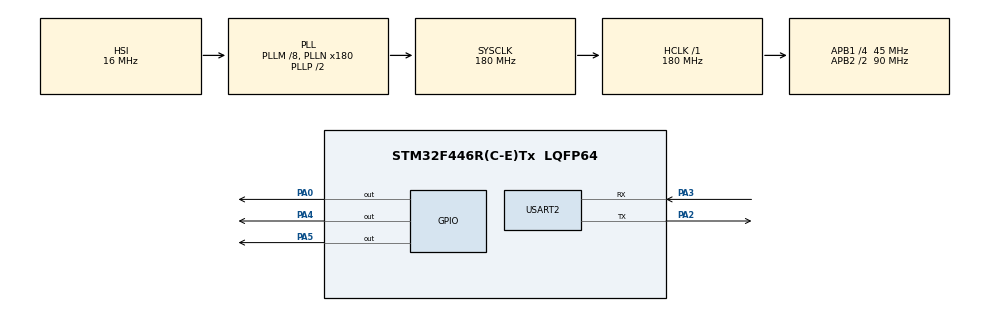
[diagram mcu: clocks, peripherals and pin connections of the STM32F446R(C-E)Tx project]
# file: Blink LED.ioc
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FREERTOS.BinarySemaphores01=myBinarySem01,Dynamic,NULL,Available
FREERTOS.CountingSemaphores01=myCountingSem01,3,Dynamic,NULL,0
FREERTOS.Mutexes01=myMutex01,Dynamic,NULL,Available
FREERTOS.Queues01=myQueue01,256,uint16_t,0,Dynamic,NULL,NULL
FREERTOS.Tasks01=Task01,24,128,LED01,Default,NULL,Dynamic,NULL,NULL;Task02,24,128,LED02,Default,NULL,Dynamic,NULL,NULL;Task03,24,128,LED03,Default,NULL,Dynamic,NULL,NULL
FREERTOS.configUSE_NEWLIB_REENTRANT=1
Mcu.Family=STM32F4
Mcu.Name=STM32F446R(C-E)Tx
Mcu.Package=LQFP64
NVIC.PriorityGroup=NVIC_PRIORITYGROUP_4
NVIC.TIM6_DAC_IRQn=true\:15\:0\:false\:false\:true\:false\:false\:true\:true
NVIC.TimeBase=TIM6_DAC_IRQn
NVIC.TimeBaseIP=TIM6
PA0-WKUP.Signal=GPIO_Output
PA2.Mode=Asynchronous
PA2.Signal=USART2_TX
PA3.Mode=Asynchronous
PA3.Signal=USART2_RX
PA4.Signal=GPIO_Output
PA5.Signal=GPIO_Output
PH0-OSC_IN.Mode=HSE-External-Oscillator
PH0-OSC_IN.Signal=RCC_OSC_IN
PH1-OSC_OUT.Mode=HSE-External-Oscillator
PH1-OSC_OUT.Signal=RCC_OSC_OUT
ProjectManager.HeapSize=0x200
ProjectManager.StackSize=0x400
ProjectManager.TargetToolchain=STM32CubeIDE
RCC.AHBFreq_Value=180000000
RCC.APB1CLKDivider=RCC_HCLK_DIV4
RCC.APB1Freq_Value=45000000
RCC.APB1TimFreq_Value=90000000
RCC.APB2CLKDivider=RCC_HCLK_DIV2
RCC.APB2Freq_Value=90000000
RCC.APB2TimFreq_Value=180000000
RCC.CortexFreq_Value=180000000
RCC.FLatency-AdvancedSettings=FLASH_LATENCY_5
RCC.HCLKFreq_Value=180000000
RCC.HSE_VALUE=8000000
RCC.HSI_VALUE=16000000
RCC.LSE_VALUE=32768
RCC.PLLM=8
RCC.PLLN=180
RCC.SYSCLKFreq_VALUE=180000000
RCC.SYSCLKSource=RCC_SYSCLKSOURCE_PLLCLK
RCC.USBFreq_Value=180000000
RCC.VCOOutputFreq_Value=360000000
USART2.VirtualMode=VM_ASYNC
VP_FREERTOS_VS_CMSIS_V2.Mode=CMSIS_V2
VP_SYS_VS_tim6.Mode=TIM6
board=NUCLEO-F446RE

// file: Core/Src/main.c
/* USER CODE BEGIN Header */
/**
  ******************************************************************************
  * @file           : main.c
  * @brief          : Main program body
  ******************************************************************************
  * @attention
  *
  * Copyright (c) 2025 STMicroelectronics.
  * All rights reserved.
  *
  * This software is licensed under terms that can be found in the LICENSE file
  * in the root directory of this software component.
  * If no LICENSE file comes with this software, it is provided AS-IS.
  *
  ******************************************************************************
  */
/* USER CODE END Header */
#include "main.h"
#include "cmsis_os.h"

/* USER CODE BEGIN Includes */
#include<stdio.h>
#include<string.h>
/* USER CODE END Includes */

UART_HandleTypeDef huart2;

/* Definitions for Task01 */
osThreadId_t Task01Handle;
const osThreadAttr_t Task01_attributes = {
  .name = "Task01",
  .stack_size = 128 * 4,
  .priority = (osPriority_t) osPriorityNormal,
};
/* Definitions for Task02 */
osThreadId_t Task02Handle;
const osThreadAttr_t Task02_attributes = {
  .name = "Task02",
  .stack_size = 128 * 4,
  .priority = (osPriority_t) osPriorityNormal,
};
/* Definitions for Task03 */
osThreadId_t Task03Handle;
const osThreadAttr_t Task03_attributes = {
  .name = "Task03",
  .stack_size = 128 * 4,
  .priority = (osPriority_t) osPriorityNormal,
};
/* Definitions for myQueue01 */
osMessageQueueId_t myQueue01Handle;
const osMessageQueueAttr_t myQueue01_attributes = {
  .name = "myQueue01"
};
/* Definitions for myMutex01 */
osMutexId_t myMutex01Handle;
const osMutexAttr_t myMutex01_attributes = {
  .name = "myMutex01"
};
/* Definitions for myBinarySem01 */
osSemaphoreId_t myBinarySem01Handle;
const osSemaphoreAttr_t myBinarySem01_attributes = {
  .name = "myBinarySem01"
};
/* Definitions for myCountingSem01 */
osSemaphoreId_t myCountingSem01Handle;
const osSemaphoreAttr_t myCountingSem01_attributes = {
  .name = "myCountingSem01"
};
/* USER CODE BEGIN PV */
volatile int count=0;
char buff[100];
/* USER CODE END PV */

void SystemClock_Config(void);
static void MX_GPIO_Init(void);
static void MX_USART2_UART_Init(void);
void LED01(void *argument);
void LED02(void *argument);
void LED03(void *argument);

int main(void)
{

  /* MCU Configuration--------------------------------------------------------*/

  /* Reset of all peripherals, Initializes the Flash interface and the Systick. */
  HAL_Init();

  /* Configure the system clock */
  SystemClock_Config();

  /* Initialize all configured peripherals */
  MX_GPIO_Init();
  MX_USART2_UART_Init();

  /* Init scheduler */
  osKernelInitialize();
  /* Create the mutex(es) */
  /* creation of myMutex01 */
  myMutex01Handle = osMutexNew(&myMutex01_attributes);

  /* Create the semaphores(s) */
  /* creation of myBinarySem01 */
  myBinarySem01Handle = osSemaphoreNew(1, 1, &myBinarySem01_attributes);

  /* creation of myCountingSem01 */
  myCountingSem01Handle = osSemaphoreNew(3, 0, &myCountingSem01_attributes);

  /* Create the queue(s) */
  /* creation of myQueue01 */
  myQueue01Handle = osMessageQueueNew (256, sizeof(uint16_t), &myQueue01_attributes);

  /* Create the thread(s) */
  /* creation of Task01 */
  Task01Handle = osThreadNew(LED01, NULL, &Task01_attributes);

  /* creation of Task02 */
  Task02Handle = osThreadNew(LED02, NULL, &Task02_attributes);

  /* creation of Task03 */
  Task03Handle = osThreadNew(LED03, NULL, &Task03_attributes);

  /* Start scheduler */
  osKernelStart();

  /* We should never get here as control is now taken by the scheduler */

  /* Infinite loop */
  while (1)
  {

  }
}

void SystemClock_Config(void)
{
  RCC_OscInitTypeDef RCC_OscInitStruct = {0};
  RCC_ClkInitTypeDef RCC_ClkInitStruct = {0};

  /** Configure the main internal regulator output voltage
  */
  __HAL_RCC_PWR_CLK_ENABLE();
  __HAL_PWR_VOLTAGESCALING_CONFIG(PWR_REGULATOR_VOLTAGE_SCALE1);

  /** Initializes the RCC Oscillators according to the specified parameters
  * in the RCC_OscInitTypeDef structure.
  */
  RCC_OscInitStruct.OscillatorType = RCC_OSCILLATORTYPE_HSI;
  RCC_OscInitStruct.HSIState = RCC_HSI_ON;
  RCC_OscInitStruct.HSICalibrationValue = RCC_HSICALIBRATION_DEFAULT;
  RCC_OscInitStruct.PLL.PLLState = RCC_PLL_ON;
  RCC_OscInitStruct.PLL.PLLSource = RCC_PLLSOURCE_HSI;
  RCC_OscInitStruct.PLL.PLLM = 8;
  RCC_OscInitStruct.PLL.PLLN = 180;
  RCC_OscInitStruct.PLL.PLLP = RCC_PLLP_DIV2;
  RCC_OscInitStruct.PLL.PLLQ = 2;
  RCC_OscInitStruct.PLL.PLLR = 2;
  if (HAL_RCC_OscConfig(&RCC_OscInitStruct) != HAL_OK)
  {
    Error_Handler();
  }

  /** Activate the Over-Drive mode
  */
  if (HAL_PWREx_EnableOverDrive() != HAL_OK)
  {
    Error_Handler();
  }

  /** Initializes the CPU, AHB and APB buses clocks
  */
  RCC_ClkInitStruct.ClockType = RCC_CLOCKTYPE_HCLK|RCC_CLOCKTYPE_SYSCLK
                              |RCC_CLOCKTYPE_PCLK1|RCC_CLOCKTYPE_PCLK2;
  RCC_ClkInitStruct.SYSCLKSource = RCC_SYSCLKSOURCE_PLLCLK;
  RCC_ClkInitStruct.AHBCLKDivider = RCC_SYSCLK_DIV1;
  RCC_ClkInitStruct.APB1CLKDivider = RCC_HCLK_DIV4;
  RCC_ClkInitStruct.APB2CLKDivider = RCC_HCLK_DIV2;

  if (HAL_RCC_ClockConfig(&RCC_ClkInitStruct, FLASH_LATENCY_5) != HAL_OK)
  {
    Error_Handler();
  }
}

static void MX_USART2_UART_Init(void)
{

  huart2.Instance = USART2;
  huart2.Init.BaudRate = 115200;
  huart2.Init.WordLength = UART_WORDLENGTH_8B;
  huart2.Init.StopBits = UART_STOPBITS_1;
  huart2.Init.Parity = UART_PARITY_NONE;
  huart2.Init.Mode = UART_MODE_TX_RX;
  huart2.Init.HwFlowCtl = UART_HWCONTROL_NONE;
  huart2.Init.OverSampling = UART_OVERSAMPLING_16;
  if (HAL_UART_Init(&huart2) != HAL_OK)
  {
    Error_Handler();
  }

}

static void MX_GPIO_Init(void)
{
  GPIO_InitTypeDef GPIO_InitStruct = {0};

  /* GPIO Ports Clock Enable */
  __HAL_RCC_GPIOH_CLK_ENABLE();
  __HAL_RCC_GPIOA_CLK_ENABLE();

  /*Configure GPIO pin Output Level */
  HAL_GPIO_WritePin(GPIOA, GPIO_PIN_0|GPIO_PIN_4|GPIO_PIN_5, GPIO_PIN_RESET);

  /*Configure GPIO pins : PA0 PA4 PA5 */
  GPIO_InitStruct.Pin = GPIO_PIN_0|GPIO_PIN_4|GPIO_PIN_5;
  GPIO_InitStruct.Mode = GPIO_MODE_OUTPUT_PP;
  GPIO_InitStruct.Pull = GPIO_NOPULL;
  GPIO_InitStruct.Speed = GPIO_SPEED_FREQ_LOW;
  HAL_GPIO_Init(GPIOA, &GPIO_InitStruct);

}

void LED01(void *argument)
{
  /* USER CODE BEGIN 5 */

	/* Infinite loop */
	for(;;)
	{
		uint16_t data = 26;
		osStatus_t status= osMessageQueuePut(myQueue01Handle, &data, 0, osWaitForever);
		if(status==osOK)
		{
			snprintf(buff,sizeof(buff),"Sent\n");
			HAL_UART_Transmit(&huart2, (uint8_t*)buff, strlen(buff), 100);
			osThreadSuspend(Task01Handle);
		}
	}
//  for(int i=0;i<10;i++)
//  {
//	  osStatus_t status = osSemaphoreAcquire(myCountingSem01Handle, osWaitForever);
//	  if(status == osOK)
//	  {
//	int temp=count;
//	for(int i=0;i<6000;i++)
//	{
//		int t;
//		t++;
//		t--;
//	}
//	temp+=1;
//	count=temp;
//    osDelay(1);
//    osSemaphoreRelease(myCountingSem01Handle	);
//  }
// }
//  osThreadTerminate(osThreadGetId());
  /* USER CODE END 5 */
}

void LED02(void *argument)
{
  /* USER CODE BEGIN LED02 */
  /* Infinite loop */
	for(;;)
	{
		uint16_t new_data;
		osDelay(2000);
		osMessageQueueGet(myQueue01Handle, &new_data, 0, osWaitForever);
		snprintf(buff,sizeof(buff),"Value : %d\n",new_data);
		HAL_UART_Transmit(&huart2, (uint8_t*)buff, strlen(buff), 100);
		osThreadSuspend(Task02Handle);

	}
//	 for(int i=0;i<10;i++)
//	  {
//		  osStatus_t status = osSemaphoreAcquire(myCountingSem01Handle, osWaitForever);
//	  if(status == osOK)
//	  {
//		  int temp=count;
//		  for(int i=0;i<6000;i++)
//		  {
//			  int t;
//			  t++;
//			  t--;
//		  }
//		  temp+=1;
//		  count=temp;
//		  osDelay(1);
//		    osSemaphoreRelease(myCountingSem01Handle);
//	  }
//}
//	osThreadTerminate(osThreadGetId());
  /* USER CODE END LED02 */
}

void LED03(void *argument)
{
  /* USER CODE BEGIN LED03 */
  /* Infinite loop */
  for(;;)
  {
	  osDelay(10);
    //osDelay(5000);
//    snprintf(buff,sizeof(buff),"\r\nCounter : %d",count);
//    HAL_UART_Transmit(&huart2, (uint8_t*)buff, strlen(buff), 100);
  }
  /* USER CODE END LED03 */
}

void HAL_TIM_PeriodElapsedCallback(TIM_HandleTypeDef *htim)
{
  if (htim->Instance == TIM6)
  {
    HAL_IncTick();
  }
}

void Error_Handler(void)
{
  __disable_irq();
  while (1)
  {
  }
}
